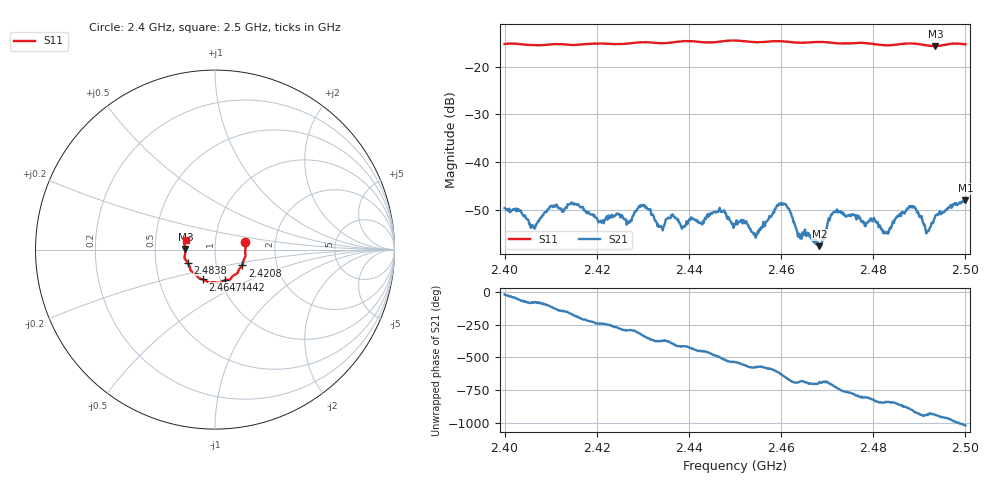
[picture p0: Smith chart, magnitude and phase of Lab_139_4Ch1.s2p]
# Hz S RI R 50
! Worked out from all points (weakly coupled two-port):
!   601 points, 2.4 GHz to 2.5 GHz, reference 50 ohm
!   highest |S21| = -48.01 dB at 2.5 GHz (marker M1); lowest = -57.7 dB at 2.4683 GHz (marker M2)
!   lowest |S11| = -15.6 dB at 2.4935 GHz (marker M3), VSWR 1.40, Z = 35.8 + j0.185 ohm
!   |S11| at or under -10 dB: start of sweep to end of sweep
!   S12 and S22 are empty: the file has one direction only
!   S11 on the Smith chart (normalised r, x): 2.4 GHz: 1.40, +0.12; 2.4208 GHz: 1.33, -0.24; 2.4442 GHz: 1.05, -0.37; 2.4647 GHz: 0.83, -0.29; 2.4838 GHz: 0.73, -0.11; 2.5 GHz: 0.71, +0.08
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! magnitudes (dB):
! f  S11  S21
! 2.4 GHz  -15.2  -49.7
! 2.4062 GHz  -15.5  -53.3
! 2.4103 GHz  -15.3  -49.2
! 2.4167 GHz  -15.3  -49.4
! 2.4208 GHz  -15.1  -52.3
! 2.427 GHz  -15.1  -52.8
! 2.4298 GHz  -14.8  -49.2
! 2.4333 GHz  -15.0  -53.1
! 2.4442 GHz  -14.9  -51.5
! 2.45 GHz  -14.5  -53.0
! 2.4547 GHz  -14.8  -55.1
! 2.4607 GHz  -14.7  -48.7
! 2.4647 GHz  -14.9  -54.8
! 2.4667 GHz  -14.8  -56.2
! 2.4683 GHz  -14.8  -57.7
! 2.4717 GHz  -15.0  -50.5
! 2.4833 GHz  -15.5  -54.9
! 2.4838 GHz  -15.5  -53.9
! 2.4883 GHz  -15.1  -49.2
! 2.4918 GHz  -15.5  -54.4
! 2.4935 GHz  -15.6  -51.2
! 2.5 GHz  -15.3  -48.0
